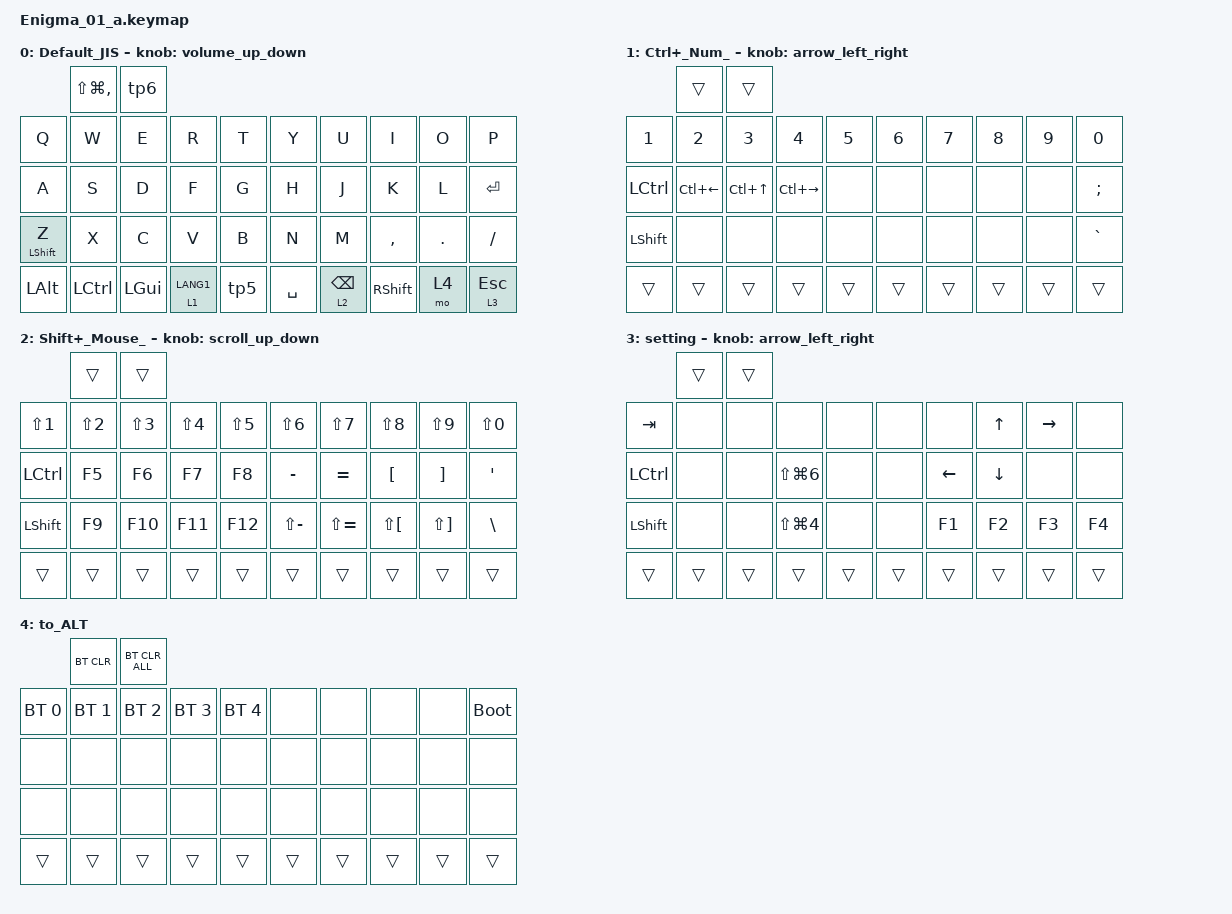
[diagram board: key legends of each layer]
#include <behaviors.dtsi>
#include <dt-bindings/zmk/bt.h>
#include <dt-bindings/zmk/keys.h>
#include <dt-bindings/zmk/pointing.h>

#define ZMK_POINTING_DEFAULT_SCRL_VAL 100

/ {
    // zmk-listeners

    layer_listeners {
        compatible = "zmk,layer-listeners";

        release_alt {
            layers = <4>;
            bindings = <&kt_on LEFT_ALT &kt_off LEFT_ALT>;
        };
    };

    macros {
        // zmk-listeners

        to_kp: to_kp {
            compatible = "zmk,behavior-macro-two-param";
            #binding-cells = <2>;
            bindings = <&macro_param_1to1 &to MACRO_PLACEHOLDER &macro_param_2to1 &kp MACRO_PLACEHOLDER>;
            label = "to_kp";
        };

        // zmk-listeners

        mo_to_0: mo_to_0 {
            compatible = "zmk,behavior-macro-one-param";
            wait-ms = <0>;
            tap-ms = <0>;
            #binding-cells = <1>;
            bindings =
                <&macro_press>,
                <&macro_param_1to1 &mo MACRO_PLACEHOLDER>,
                <&macro_tap>,
                <&macro_pause_for_release>,
                <&macro_release>,
                <&macro_param_1to1 &mo MACRO_PLACEHOLDER>,
                <&macro_tap>,
                <&to 0>;

            label = "MO_to_0";
        };
    };

    behaviors {
        // Layout shift

        original_key_press: original_key_press {
            compatible = "zmk,behavior-key-press";
            #binding-cells = <1>;
            label = "KEY_PRESS";
        };

        // Layout shift

        kp: key_press {
            compatible = "zmk,behavior-layout-shift-key-press";
            #binding-cells = <1>;
            label = "LAYOUT_SHIFT_KEY_PRESS";
        };

        // zmk-listeners

        kt_on: key_toggle_on_only {
            compatible = "zmk,behavior-key-toggle";
            #binding-cells = <1>;
            display-name = "Key Toggle On";
            toggle-mode = "on";
        };

        // zmk-listeners

        kt_off: key_toggle_off_only {
            compatible = "zmk,behavior-key-toggle";
            #binding-cells = <1>;
            display-name = "Key Toggle Off";
            toggle-mode = "off";
        };

        // zmk-listeners

        lt_to_0: lt_to_0 {
            compatible = "zmk,behavior-hold-tap";
            label = "LT_to_0";
            bindings = <&mo_to_0>, <&kp>;

            #binding-cells = <2>;
            tapping-term-ms = <200>;
            quick-tap-ms = <200>;
            flavor = "balanced";
        };

        scroll_up_down: behavior_sensor_rotate_mouse_wheel_up_down {
            compatible = "zmk,behavior-sensor-rotate";
            #sensor-binding-cells = <0>;
            bindings = <&msc SCRL_UP>, <&msc SCRL_DOWN>;

            tap-ms = <20>;
        };

        scroll_left_right: behavior_sensor_rotate_mouse_wheel_left_right {
            compatible = "zmk,behavior-sensor-rotate";
            #sensor-binding-cells = <0>;
            bindings = <&msc SCRL_LEFT>, <&msc SCRL_RIGHT>;

            tap-ms = <20>;
        };

        arrow_left_right: behavior_sensor_rotate_arrow_le {
            compatible = "zmk,behavior-sensor-rotate";
            #sensor-binding-cells = <0>;
            bindings = <&kp LEFT>, <&kp RIGHT>;

            tap-ms = <20>;
        };

        arrow_up_down: behavior_sensor_rotate_arrow_up {
            compatible = "zmk,behavior-sensor-rotate";
            #sensor-binding-cells = <0>;
            bindings = <&kp UP>, <&kp DOWN>;

            tap-ms = <20>;
        };

        page_up_down: behavior_sensor_rotate_page_up_ {
            compatible = "zmk,behavior-sensor-rotate";
            #sensor-binding-cells = <0>;
            bindings = <&kp PAGE_UP>, <&kp PAGE_DOWN>;

            tap-ms = <20>;
        };

        tp1: tab_ctrl_q {
            compatible = "zmk,behavior-tap-dance";
            label = "tab_ctrl_q";
            #binding-cells = <0>;
            bindings = <&mt LCTRL TAB>, <&kp Q>;
        };

        tp2: shift_ctrl {
            compatible = "zmk,behavior-tap-dance";
            label = "shift_ctrl";
            #binding-cells = <0>;
            bindings = <&kp LSHIFT>, <&kp LCTRL>;
        };

        tp4: f7_toALT_f8 {
            compatible = "zmk,behavior-tap-dance";
            label = "f7_toALT_f8";
            #binding-cells = <0>;
            bindings = <&lt_to_0 4 F7>, <&kp F8>;
        };

        tp3: hz_toALT {
            compatible = "zmk,behavior-tap-dance";
            label = "hz_toALT";
            #binding-cells = <0>;
            bindings = <&lt_to_0 4 GRAVE>;
        };

        tp5: shft_gui_JH {
            compatible = "zmk,behavior-tap-dance";
            label = "shft_gui_JH";
            #binding-cells = <0>;
            bindings = <&kp LS(LG(J))>, <&kp LS(LG(H))>;

            tapping-term-ms = <300>;
        };

        volume_up_down: behavior_sensor_rotate_volume_u {
            compatible = "zmk,behavior-sensor-rotate";
            label = "VOLUME_UP_DOWN";
            #sensor-binding-cells = <0>;
            bindings = <&kp C_VOLUME_DOWN>, <&kp C_VOLUME_UP>;
        };

        tp6: tap_dance_shift_gui_4_5 {
            compatible = "zmk,behavior-tap-dance";
            label = "tap_dance_shift_gui_4_5";
            #binding-cells = <0>;
            bindings = <&kp LS(LG(NUMBER_4))>, <&kp LS(LG(NUMBER_6))>;
        };
    };

    combos { compatible = "zmk,combos"; };

    keymap {
        compatible = "zmk,keymap";

        Default_JIS {
            bindings = <
                  &kp LS(LG(COMMA))  &tp6
&kp Q             &kp W              &kp E         &kp R        &kp T  &kp Y      &kp U            &kp I            &kp O    &kp P
&kp A             &kp S              &kp D         &kp F        &kp G  &kp H      &kp J            &kp K            &kp L    &kp ENTER
&mt LEFT_SHIFT Z  &kp X              &kp C         &kp V        &kp B  &kp N      &kp M            &kp COMMA        &kp DOT  &kp SLASH
&kp LEFT_ALT      &kp LCTRL          &kp LEFT_GUI  &lt 1 LANG1  &tp5   &kp SPACE  &lt 2 BACKSPACE  &kp RIGHT_SHIFT  &mo 4    &lt 3 ESCAPE
            >;

            sensor-bindings = <&volume_up_down>;
        };

        Ctrl+_Num_ {
            bindings = <
                &trans        &trans
&kp NUMBER_1    &kp NUMBER_2  &kp NUMBER_3      &kp NUMBER_4   &kp NUMBER_5  &kp NUMBER_6  &kp NUMBER_7  &kp NUMBER_8  &kp NUMBER_9  &kp NUMBER_0
&kp LCTRL       &kp LC(LEFT)  &kp LC(UP_ARROW)  &kp LC(RIGHT)  &none         &none         &none         &none         &none         &kp SEMICOLON
&kp LEFT_SHIFT  &none         &none             &none          &none         &none         &none         &none         &none         &kp GRAVE
&trans          &trans        &trans            &trans         &trans        &trans        &trans        &trans        &trans        &trans
            >;

            sensor-bindings = <&arrow_left_right>;
        };

        Shift+_Mouse_ {
            bindings = <
                  &trans            &trans
&kp LS(NUMBER_1)  &kp LS(NUMBER_2)  &kp LS(NUMBER_3)  &kp LS(NUMBER_4)  &kp LS(NUMBER_5)  &kp LS(NUMBER_6)  &kp LS(NUMBER_7)  &kp LS(NUMBER_8)      &kp LS(NUMBER_9)       &kp LS(NUMBER_0)
&kp LCTRL         &kp F5            &kp F6            &kp F7            &kp F8            &kp MINUS         &kp EQUAL         &kp LEFT_BRACKET      &kp RIGHT_BRACKET      &kp SQT
&kp LEFT_SHIFT    &kp F9            &kp F10           &kp F11           &kp F12           &kp LS(MINUS)     &kp LS(EQUAL)     &kp LS(LEFT_BRACKET)  &kp LS(RIGHT_BRACKET)  &kp BACKSLASH
&trans            &trans            &trans            &trans            &trans            &trans            &trans            &trans                &trans                 &trans
            >;

            sensor-bindings = <&scroll_up_down>;
        };

        setting {
            bindings = <
                &trans  &trans
&kp TAB         &none   &none   &none                 &none   &none   &none           &kp UP_ARROW  &kp RIGHT  &none
&kp LCTRL       &none   &none   &kp LS(LG(NUMBER_6))  &none   &none   &kp LEFT_ARROW  &kp DOWN      &none      &none
&kp LEFT_SHIFT  &none   &none   &kp LS(LG(NUMBER_4))  &none   &none   &kp F1          &kp F2        &kp F3     &kp F4
&trans          &trans  &trans  &trans                &trans  &trans  &trans          &trans        &trans     &trans
            >;

            sensor-bindings = <&arrow_left_right>;
        };

        to_ALT {
            bindings = <
              &bt BT_CLR    &bt BT_CLR_ALL
&bt BT_SEL 0  &bt BT_SEL 1  &bt BT_SEL 2    &bt BT_SEL 3  &bt BT_SEL 4  &none   &none   &none   &none   &bootloader
&none         &none         &none           &none         &none         &none   &none   &none   &none   &none
&none         &none         &none           &none         &none         &none   &none   &none   &none   &none
&trans        &trans        &trans          &trans        &trans        &trans  &trans  &trans  &trans  &trans
            >;
        };
    };
};
